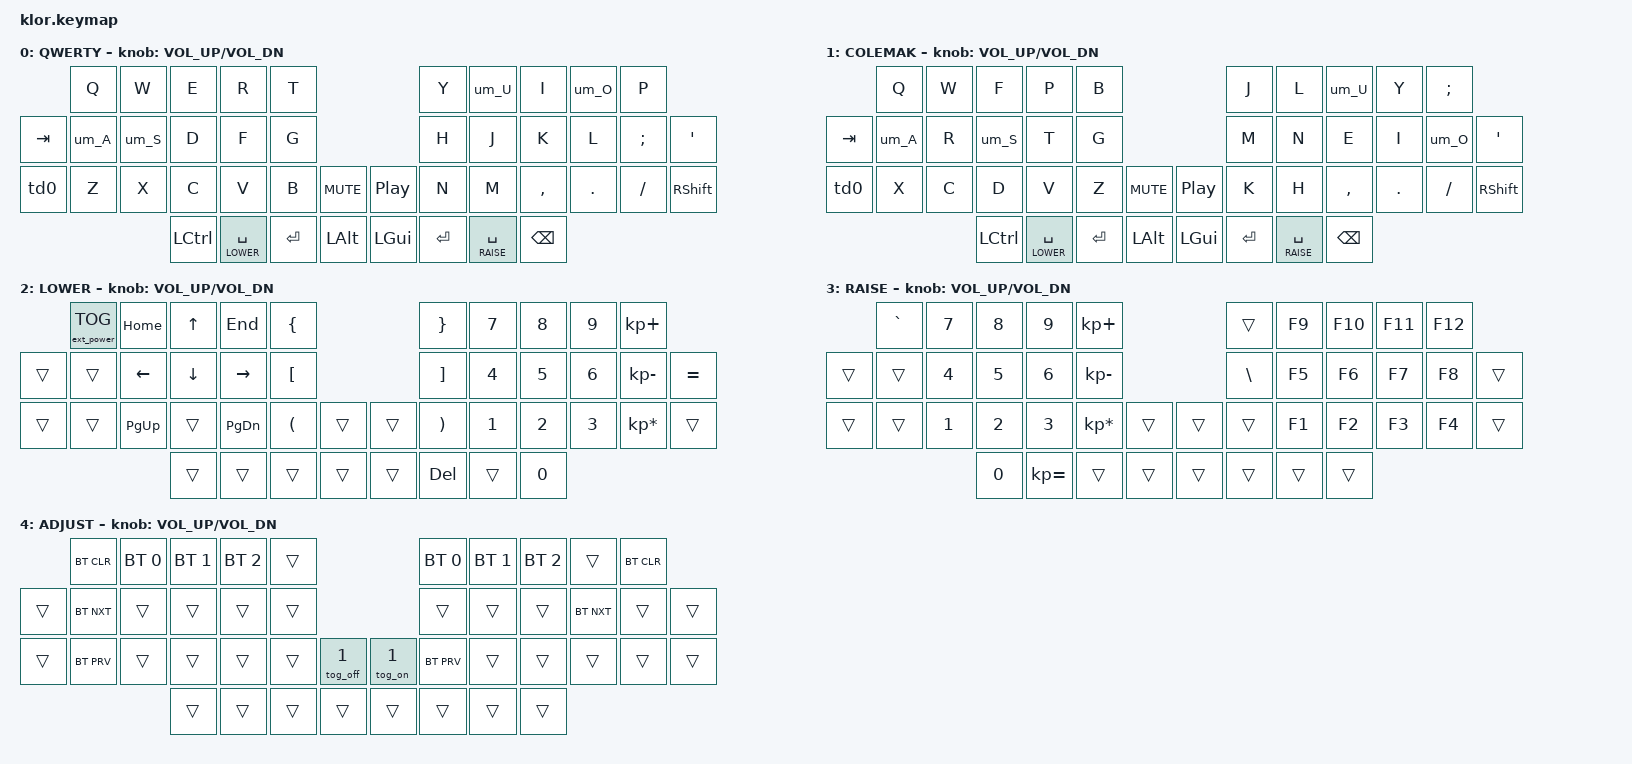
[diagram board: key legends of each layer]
//                               █         █    █            ▄▄▄▀▀▀▀▀▀▄▄▄        █▀▀▀▀▀▀▀▀▀▀█
//                               █        █     █          ▄▀            ▀▄      █          █
//                               █       █      █        ▄▀                ▀▄    █          █
//                               █      █       █        █                  █    █          █
//                               █     █        █       █                    █   █          █
//                               █    █         █       █                    █   █▄▄▄▄▄▄▄▄▄▄█
//                               █   █ █        █       █                    █   █      █
//                               █  █   █       █        █                  █    █       █
//                               █ █     █      █        ▀▄                ▄▀    █        █
//                               ██       █     █          ▀▄            ▄▀      █         █
//                               █         █    █▄▄▄▄▄▄▄▄    ▀▀▀▄▄▄▄▄▄▀▀▀        █          █
//
// ▄▄▄▄▄▄▄▄▄▄▄▄▄▄▄▄▄▄▄▄▄▄▄▄▄▄▄▄▄▄▄▄▄▄▄▄▄▄▄▄▄▄▄▄▄▄▄▄▄▄▄▄▄▄▄▄▄▄▄▄▄▄▄▄▄▄▄▄▄▄▄▄▄▄▄▄▄▄▄▄▄▄▄▄▄▄▄▄▄▄▄▄▄▄▄▄▄▄▄▄▄▄▄▄▄▄▄▄▄▄▄▄▄▄▄▄▄▄▄▄▄▄▄▄▄

#include <behaviors.dtsi>
#include <dt-bindings/zmk/bt.h>
#include <dt-bindings/zmk/ext_power.h>
#include <dt-bindings/zmk/keys.h>
#include <dt-bindings/zmk/rgb.h>

#define QWERTY  0
#define COLEMAK 1
#define LOWER   2
#define RAISE   3
#define ADJUST  4

/ {
    behaviors {
        hm: homerow_mods {
            compatible = "zmk,behavior-hold-tap";
            label = "HOMEROW_MODS";
            #binding-cells = <2>;
            tapping-term-ms = <150>;
            quick_tap_ms = <0>;
            flavor = "tap-preferred";
            bindings = <&kp>, <&kp>;
        };

        sf: space_fn {
            compatible = "zmk,behavior-hold-tap";
            label = "Space_FN";
            bindings = <&mo>, <&kp>;

            #binding-cells = <2>;
            tapping-term-ms = <200>;
            flavor = "balanced";
        };

        td0: tap_dance_shift_caps_lock {
            compatible = "zmk,behavior-tap-dance";
            #binding-cells = <0>;
            tapping-term-ms = <200>;
            bindings = <&kp LSHFT>, <&kp CAPS>;
        };

        tog_on: toggle_layer_on_only {
            compatible = "zmk,behavior-toggle-layer";
            #binding-cells = <1>;
            display-name = "Toggle Layer On";
            toggle-mode = "on";
            locking;
        };

        tog_off: toggle_layer_of_only {
            compatible = "zmk,behavior-toggle-layer";
            #binding-cells = <1>;
            display-name = "Toggle Layer Off";
            toggle-mode = "off";
            locking;
        };

        um_S: umlaut_s {
            compatible = "zmk,behavior-mod-morph";
            #binding-cells = <0>;
            bindings = <&kp S>, <&kp RA(S)>;
            mods = <MOD_LALT>;
        };

        um_A: umlaut_a {
            compatible = "zmk,behavior-mod-morph";
            #binding-cells = <0>;
            bindings = <&kp A>, <&kp RA(Q)>;
            mods = <MOD_LALT>;
        };

        um_U: umlaut_u {
            compatible = "zmk,behavior-mod-morph";
            #binding-cells = <0>;
            bindings = <&kp U>, <&kp RA(Y)>;
            mods = <MOD_LALT>;
        };

        um_O: umlaut_o {
            compatible = "zmk,behavior-mod-morph";
            #binding-cells = <0>;
            bindings = <&kp O>, <&kp RA(P)>;
            mods = <MOD_LALT>;
        };
    };

    combos {
        compatible = "zmk,combos";

        combo_esc {
            timeout-ms = <50>;
            key-positions = <0 1>;
            bindings = <&kp ESC>;
        };

        ALT_F4 {
            bindings = <&kp LA(F4)>;
            key-positions = <3 39>;
            timeout-ms = <200>;
            layers = <0 1>;
        };
    };

    keymap {
        compatible = "zmk,keymap";

        // ▄▄▄▄▄▄▄▄▄▄▄▄▄▄▄▄▄▄▄▄▄▄▄▄▄▄▄▄▄▄▄▄▄▄▄▄▄▄▄▄▄▄▄▄▄▄▄▄▄▄▄▄▄▄▄▄▄▄▄▄▄▄▄▄▄▄▄▄▄▄▄▄▄▄▄▄▄▄▄▄▄▄▄▄▄▄▄▄▄▄▄▄▄▄▄▄▄▄▄▄▄▄▄▄▄▄▄▄▄▄▄▄▄▄▄▄▄▄▄▄▄▄▄▄▄▄▄▄▄▄▄▄▄▄▄▄▄▄▄▄▄▄

        qwerty_layer {
            // ┌───────────────────────────────────────────────────────────┐

            label = "QWERTY";

            // └───────────────────────────────────────────────────────────┘
            /*           
             ┌─────────┬─────────┬─────────┬─────────┬─────────┐                    ┌─────────┬─────────┬─────────┬─────────┬─────────┐
             │    Q    │    W    │    E    │    R    │    T    │                    │    Y    │    U    │    I    │    O    │    P    │   
   ┌─────────┼─────────┼─────────┼─────────┼─────────┼─────────┤                    ├─────────┼─────────┼─────────┼─────────┼─────────┼─────────┐
   │   TAB   │    A    │    S    │    D    │    F    │    G    │                    │    H    │    J    │    K    │    L    │    ;    │    '    │
   ├─────────┼─────────┼─────────┼─────────┼─────────┼─────────┤╭────────╮╭────────╮├─────────┼─────────┼─────────┼─────────┼─────────┼─────────┤
   │ TD LSFT │    Z    │    X    │    C    │    V    │    B    ││  MUTE  ││PLY/PSE ││    N    │    M    │    ,    │    .    │    /    │  RSHFT  │
   └─────────┴─────────┴─────────┼─────────┼─────────┼─────────┼╰────────╯╰────────╯┼─────────┼─────────┼─────────┼─────────┴─────────┴─────────┘
                                 │  CTRL   │ LOW/SPC │  ENTER  │   ALT   ││ CMD/WIN │  ENTER  │ RAI/SPC │  BSPCE  │  
                                 └─────────┴─────────┴─────────┴─────────┘└─────────┴─────────┴─────────┴─────────┘ */

            bindings = <
           &kp Q  &kp W  &kp E      &kp R            &kp T                                    &kp Y    &um_U            &kp I      &um_O    &kp P
&kp TAB    &um_A  &um_S  &kp D      &kp F            &kp G                                    &kp H    &kp J            &kp K      &kp L    &kp SEMI  &kp SQT
&td0       &kp Z  &kp X  &kp C      &kp V            &kp B      &kp C_MUTE  &kp C_PLAY_PAUSE  &kp N    &kp M            &kp COMMA  &kp DOT  &kp FSLH  &kp RSHFT
                         &kp LCTRL  &sf LOWER SPACE  &kp ENTER  &kp LALT    &kp LGUI          &kp RET  &sf RAISE SPACE  &kp BSPC
            >;

            sensor-bindings = <&inc_dec_kp C_VOL_UP C_VOL_DN>;
        };

        // ▄▄▄▄▄▄▄▄▄▄▄▄▄▄▄▄▄▄▄▄▄▄▄▄▄▄▄▄▄▄▄▄▄▄▄▄▄▄▄▄▄▄▄▄▄▄▄▄▄▄▄▄▄▄▄▄▄▄▄▄▄▄▄▄▄▄▄▄▄▄▄▄▄▄▄▄▄▄▄▄▄▄▄▄▄▄▄▄▄▄▄▄▄▄▄▄▄▄▄▄▄▄▄▄▄▄▄▄▄▄▄▄▄▄▄▄▄▄▄▄▄▄▄▄▄▄▄▄▄▄▄▄▄▄▄▄▄▄▄▄▄▄

        colemak_layer {
            // ┌───────────────────────────────────────────────────────────┐

            label = "COLEMAK";

            // └───────────────────────────────────────────────────────────┘
            /*           
             ┌─────────┬─────────┬─────────┬─────────┬─────────┐                    ┌─────────┬─────────┬─────────┬─────────┬─────────┐
             │    Q    │    W    │    F    │    P    │    B    │                    │    J    │    L    │    U    │    Y    │    ;    │   
   ┌─────────┼─────────┼─────────┼─────────┼─────────┼─────────┤                    ├─────────┼─────────┼─────────┼─────────┼─────────┼─────────┐
   │   TAB   │    A    │    R    │    S    │    T    │    G    │                    │    M    │    N    │    E    │    I    │    O    │    '    │
   ├─────────┼─────────┼─────────┼─────────┼─────────┼─────────┤╭────────╮╭────────╮├─────────┼─────────┼─────────┼─────────┼─────────┼─────────┤
   │ TD LSFT │    X    │    C    │    D    │    V    │    Z    ││  MUTE  ││PLY/PSE ││    K    │    H    │    ,    │    .    │    /    │  RSHFT  │
   └─────────┴─────────┴─────────┼─────────┼─────────┼─────────┼╰────────╯╰────────╯┼─────────┼─────────┼─────────┼─────────┴─────────┴─────────┘
                                 │  CTRL   │ LOW/SPC │  ENTER  │   ALT   ││ CMD/WIN │  ENTER  │ RAI/SPC │  BSPCE  │  
                                 └─────────┴─────────┴─────────┴─────────┘└─────────┴─────────┴─────────┴─────────┘ */

            bindings = <
           &kp Q  &kp W  &kp F      &kp P            &kp B                                    &kp J    &kp L            &um_U      &kp Y    &kp SEMI
&kp TAB    &um_A  &kp R  &um_S      &kp T            &kp G                                    &kp M    &kp N            &kp E      &kp I    &um_O     &kp SQT
&td0       &kp X  &kp C  &kp D      &kp V            &kp Z      &kp C_MUTE  &kp C_PLAY_PAUSE  &kp K    &kp H            &kp COMMA  &kp DOT  &kp FSLH  &kp RSHFT
                         &kp LCTRL  &sf LOWER SPACE  &kp ENTER  &kp LALT    &kp LGUI          &kp RET  &sf RAISE SPACE  &kp BSPC
            >;

            sensor-bindings = <&inc_dec_kp C_VOL_UP C_VOL_DN>;
        };

        // ▄▄▄▄▄▄▄▄▄▄▄▄▄▄▄▄▄▄▄▄▄▄▄▄▄▄▄▄▄▄▄▄▄▄▄▄▄▄▄▄▄▄▄▄▄▄▄▄▄▄▄▄▄▄▄▄▄▄▄▄▄▄▄▄▄▄▄▄▄▄▄▄▄▄▄▄▄▄▄▄▄▄▄▄▄▄▄▄▄▄▄▄▄▄▄▄▄▄▄▄▄▄▄▄▄▄▄▄▄▄▄▄▄▄▄▄▄▄▄▄▄▄▄▄▄▄▄▄▄▄▄▄▄▄▄▄▄▄▄▄▄▄

        lower_layer {
            // ┌───────────────────────────────────────────────────────────┐

            label = "LOWER";

            // └───────────────────────────────────────────────────────────┘
            /*           
             ┌─────────┬─────────┬─────────┬─────────┬─────────┐                    ┌─────────┬─────────┬─────────┬─────────┬─────────┐
             │         │  POS 1  │    UP   │   END   │    {    │                    │    }    │    7    │    8    │    9    │    +    │
   ┌─────────┼─────────┼─────────┼─────────┼─────────┼─────────┤                    ├─────────┼─────────┼─────────┼─────────┼─────────┼─────────┐
   │         │         │   LEFT  │   DOWN  │  RIGHT  │    [    │                    │    ]    │    4    │    5    │    6    │    -    │    =    │
   ├─────────┼─────────┼─────────┼─────────┼─────────┼─────────┤╭────────╮╭────────╮├─────────┼─────────┼─────────┼─────────┼─────────┼─────────┤
   │         │         │   P UP  │         │ P DOWN  │    (    ││        ││        ││    )    │    1    │    2    │    3    │    *    │         │
   └─────────┴─────────┴─────────┼─────────┼─────────┼─────────┼╰────────╯╰────────╯┼─────────┼─────────┼─────────┼─────────┴─────────┴─────────┘
                                 │         │         │         │         ││         │   DEL   │    0    │         │  
                                 └─────────┴─────────┴─────────┴─────────┘└─────────┴─────────┴─────────┴─────────┘ */

            bindings = <
        &ext_power EP_TOG  &kp HOME   &kp UP    &kp END    &kp LBRC                  &kp RBRC    &kp NUMBER_7  &kp NUMBER_8  &kp NUMBER_9  &kp KP_PLUS
&trans  &trans             &kp LEFT   &kp DOWN  &kp RIGHT  &kp LBKT                  &kp RBKT    &kp NUMBER_4  &kp NUMBER_5  &kp NUMBER_6  &kp KP_MINUS     &kp EQUAL
&trans  &trans             &kp PG_UP  &trans    &kp PG_DN  &kp LPAR  &trans  &trans  &kp RPAR    &kp NUMBER_1  &kp NUMBER_2  &kp NUMBER_3  &kp KP_MULTIPLY  &trans
                                      &trans    &trans     &trans    &trans  &trans  &kp DELETE  &trans        &kp N0
            >;

            sensor-bindings = <&inc_dec_kp C_VOL_UP C_VOL_DN>;
        };

        // ▄▄▄▄▄▄▄▄▄▄▄▄▄▄▄▄▄▄▄▄▄▄▄▄▄▄▄▄▄▄▄▄▄▄▄▄▄▄▄▄▄▄▄▄▄▄▄▄▄▄▄▄▄▄▄▄▄▄▄▄▄▄▄▄▄▄▄▄▄▄▄▄▄▄▄▄▄▄▄▄▄▄▄▄▄▄▄▄▄▄▄▄▄▄▄▄▄▄▄▄▄▄▄▄▄▄▄▄▄▄▄▄▄▄▄▄▄▄▄▄▄▄▄▄▄

        raise_layer {
            // ┌───────────────────────────────────────────────────────────┐

            label = "RAISE";

            // └───────────────────────────────────────────────────────────┘
            /*           
             ┌─────────┬─────────┬─────────┬─────────┬─────────┐                    ┌─────────┬─────────┬─────────┬─────────┬─────────┐
             │    `    │    7    │    8    │    9    │    +    │                    │         │   F9    │   F10   │   F11   │   F12   │
   ┌─────────┼─────────┼─────────┼─────────┼─────────┼─────────┤                    ├─────────┼─────────┼─────────┼─────────┼─────────┼─────────┐
   │         │         │    4    │    5    │    6    │    -    │                    │    \    │   F5    │   F6    │   F7    │   F8    │         │
   ├─────────┼─────────┼─────────┼─────────┼─────────┼─────────┤╭────────╮╭────────╮├─────────┼─────────┼─────────┼─────────┼─────────┼─────────┤
   │         │         │    1    │    2    │    3    │    *    ││        ││        ││         │   F1    │   F2    │   F3    │   F4    │         │
   └─────────┴─────────┴─────────┼─────────┼─────────┼─────────┼╰────────╯╰────────╯┼─────────┼─────────┼─────────┼─────────┴─────────┴─────────┘
                                 │    0    │    =    │         │         ││         │         │         │         │  
                                 └─────────┴─────────┴─────────┴─────────┘└─────────┴─────────┴─────────┴─────────┘ */

            bindings = <
        &kp GRAVE  &kp NUMBER_7  &kp NUMBER_8  &kp NUMBER_9  &kp KP_PLUS              &trans         &kp F9  &kp F10  &kp F11  &kp F12
&trans  &trans     &kp NUMBER_4  &kp NUMBER_5  &kp NUMBER_6  &kp KP_MINUS             &kp BACKSLASH  &kp F5  &kp F6   &kp F7   &kp F8   &trans
&trans  &trans     &kp NUMBER_1  &kp NUMBER_2  &kp NUMBER_3  &kp KP_MULTIPLY  &trans  &trans         &trans  &kp F1   &kp F2   &kp F3   &kp F4   &trans
                                 &kp NUMBER_0  &kp KP_EQUAL  &trans           &trans  &trans         &trans  &trans   &trans
            >;

            sensor-bindings = <&inc_dec_kp C_VOL_UP C_VOL_DN>;
        };

        // ▄▄▄▄▄▄▄▄▄▄▄▄▄▄▄▄▄▄▄▄▄▄▄▄▄▄▄▄▄▄▄▄▄▄▄▄▄▄▄▄▄▄▄▄▄▄▄▄▄▄▄▄▄▄▄▄▄▄▄▄▄▄▄▄▄▄▄▄▄▄▄▄▄▄▄▄▄▄▄▄▄▄▄▄▄▄▄▄▄▄▄▄▄▄▄▄▄▄▄▄▄▄▄▄▄▄▄▄▄▄▄▄▄▄▄▄▄▄▄▄▄▄▄▄▄

        adjust_layer {
            // ┌───────────────────────────────────────────────────────────┐

            label = "ADJUST";

            // └───────────────────────────────────────────────────────────┘
            /*           
             ┌─────────┬─────────┬─────────┬─────────┬─────────┐                    ┌─────────┬─────────┬─────────┬─────────┬─────────┐
             │ BT CLR  │   BT 0  │   BT 1  │   BT 2  │         │                    │   BT 0  │   BT 1  │   BT 2  │         │ BT CLR  │
   ┌─────────┼─────────┼─────────┼─────────┼─────────┼─────────┤                    ├─────────┼─────────┼─────────┼─────────┼─────────┼─────────┐
   │         │ BT NXT  │         │         │         │         │                    │         │         │         │ BT NXT  │         │         │
   ├─────────┼─────────┼─────────┼─────────┼─────────┼─────────┤╭────────╮╭────────╮├─────────┼─────────┼─────────┼─────────┼─────────┼─────────┤
   │         │ BT PRV  │         │         │         │         ││ TOG-OFF││ TOG-ON ││ BT PRV  │         │         │         │         │         │
   └─────────┴─────────┴─────────┼─────────┼─────────┼─────────┼╰────────╯╰────────╯┼─────────┼─────────┼─────────┼─────────┴─────────┴─────────┘
                                 │         │         │         │         ││         │         │         │         │  
                                 └─────────┴─────────┴─────────┴─────────┘└─────────┴─────────┴─────────┴─────────┘ */

            bindings = <
        &bt BT_CLR  &bt BT_SEL 0  &bt BT_SEL 1  &bt BT_SEL 2  &trans                  &bt BT_SEL 0  &bt BT_SEL 1  &bt BT_SEL 2  &trans      &bt BT_CLR
&trans  &bt BT_NXT  &trans        &trans        &trans        &trans                  &trans        &trans        &trans        &bt BT_NXT  &trans      &trans
&trans  &bt BT_PRV  &trans        &trans        &trans        &trans  &tog_off 1  &tog_on 1     &bt BT_PRV    &trans        &trans        &trans      &trans      &trans
                                  &trans        &trans        &trans  &trans  &trans  &trans        &trans        &trans
            >;

            sensor-bindings = <&inc_dec_kp C_VOL_UP C_VOL_DN>;
        };
    };

    conditional_layers {
        compatible = "zmk,conditional-layers";

        ADJUST {
            if-layers = <LOWER RAISE>;
            then-layer = <ADJUST>;
        };
    };
};
